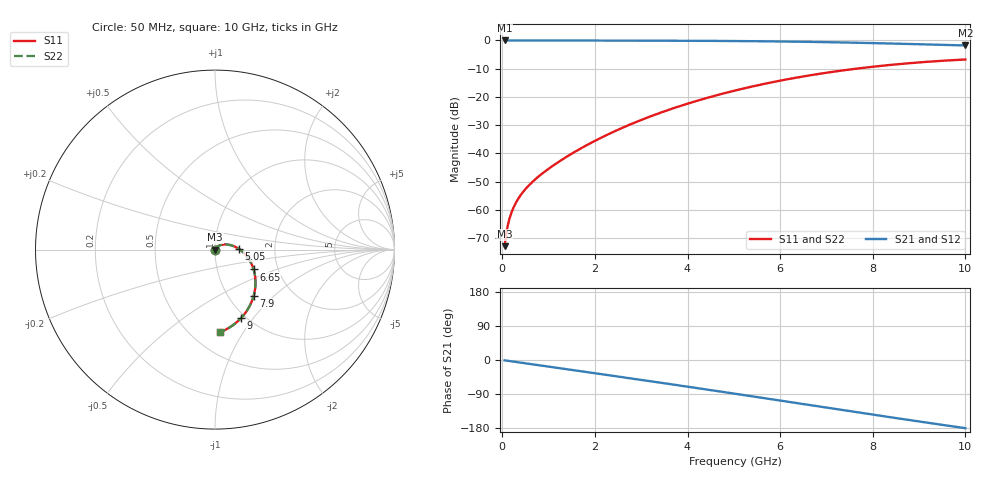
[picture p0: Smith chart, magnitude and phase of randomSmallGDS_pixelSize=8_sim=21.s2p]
! freq	dB(S11)	phase(S11)	dB(S12)	phase(S12)
!  dB(S21)	phase(S21)	dB(S22)	phase(S22)
!S-par simulation data
#  GHz  S  DB  R 50
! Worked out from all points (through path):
!   200 points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, 50 MHz to 10 GHz, reference 50 ohm
!   highest |S21| = 0.00 dB at 50 MHz (marker M1); lowest = -1.8 dB at 10 GHz (marker M2)
!   group delay of S21, straight-line fit = 50.3 ps
!   lowest |S11| = -72.8 dB at 50 MHz (marker M3), VSWR 1.00, Z = 50 + j0.0226 ohm
!   |S11| at or under -10 dB: start of sweep to 7.638 GHz
!   |S22| runs from -72.8 to -6.7 dB; largest |S21 - S12| = 0
!   S11 on the Smith chart (normalised r, x): 50 MHz: 1.00, +0.00; 5.05 GHz: 1.30, +0.01; 6.65 GHz: 1.50, -0.35; 7.9 GHz: 1.30, -0.75; 9 GHz: 0.95, -0.87; 10 GHz: 0.68, -0.80
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0.05  -72.81 80.2  -0.00 -0.9  -0.00 -0.9  -72.81 80.2
0.1  -66.86 83.7  -0.00 -1.8  -0.00 -1.8  -66.86 83.7
0.15  -63.34 84.2  -0.00 -2.6  -0.00 -2.6  -63.34 84.2
0.2  -60.83 84.0  -0.00 -3.5  -0.00 -3.5  -60.83 84.0
0.3  -57.25 83.0  -0.00 -5.3  -0.00 -5.3  -57.25 83.0
0.45  -53.59 81.1  -0.01 -7.9  -0.01 -7.9  -53.59 81.1
0.65  -50.07 78.4  -0.01 -11.4  -0.01 -11.4  -50.07 78.4
0.95  -46.01 74.3  -0.02 -16.6  -0.02 -16.6  -46.01 74.3
1.3  -42.08 69.2  -0.03 -22.7  -0.03 -22.7  -42.08 69.2
1.75  -37.72 61.9  -0.04 -30.5  -0.04 -30.5  -37.72 61.9
2.55  -31.23 47.8  -0.05 -44.5  -0.05 -44.5  -31.23 47.8
3.4  -25.66 32.4  -0.08 -59.6  -0.08 -59.6  -25.66 32.4
4.25  -21.14 16.9  -0.13 -74.9  -0.13 -74.9  -21.14 16.9
5.05  -17.63 2.3  -0.21 -89.4  -0.21 -89.4  -17.63 2.3
5.85  -14.71 -12.5  -0.33 -104.2  -0.33 -104.2  -14.71 -12.5
6.65  -12.32 -27.2  -0.50 -119.1  -0.50 -119.1  -12.32 -27.2
6.7  -12.19 -28.1  -0.52 -120.0  -0.52 -120.0  -12.19 -28.1
7.3  -10.72 -39.1  -0.69 -131.2  -0.69 -131.2  -10.72 -39.1
7.9  -9.49 -50.0  -0.89 -142.3  -0.89 -142.3  -9.49 -50.0
8.35  -8.70 -58.0  -1.07 -150.5  -1.07 -150.5  -8.70 -58.0
9  -7.77 -69.4  -1.34 -162.3  -1.34 -162.3  -7.77 -69.4
10  -6.74 -86.3  -1.77 -179.9  -1.77 -179.9  -6.74 -86.3
